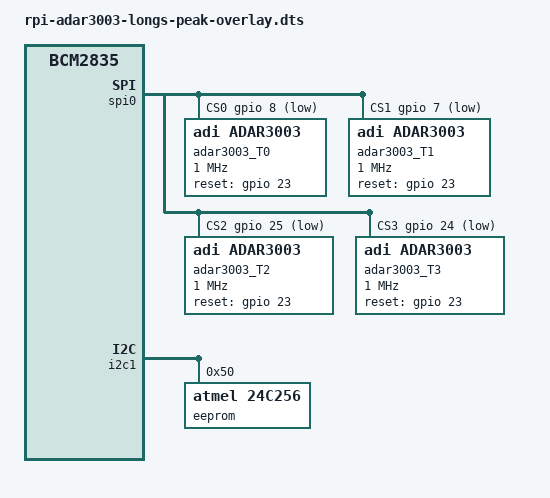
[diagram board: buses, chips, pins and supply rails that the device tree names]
// SPDX-License-Identifier: GPL-2.0
/dts-v1/;
/plugin/;

/ {
	compatible = "brcm,bcm2836", "brcm,bcm2835";

	fragment@0 {
		target = <&spidev0>;
		__overlay__ {
			status = "disabled";
		};
	};

	fragment@1 {
		target = <&spidev1>;
		__overlay__ {
			status = "disabled";
		};
	};

	fragment@2 {
		target = <&spi0_cs_pins>;
		frag0: __overlay__ {
				brcm,pins = <8 7 25 24>;
				brcm,function = <1>; //output
		};
	};

	fragment@3 {
		target = <&spi0>;
		frag1: __overlay__ {
			#address-cells = <1>;
			#size-cells = <0>;

			cs-gpios = <&gpio 8 1>, <&gpio 7 1>, <&gpio 25 1>, <&gpio 24 1>;
			status = "okay";

			adar3003_T0: adar3003_0@0 {
				compatible = "adi,adar3003";
				reg = <0>;
				spi-max-frequency = <1000000>;
				label = "adar3003_T0";
				#address-cells = <1>;
				#size-cells = <0>;
				reset-gpios = <&gpio 23 0>;

				adar3003_0@0 {
					reg = <0>;
					label = "adar3003_U1E";
				};
				adar3003_1@1 {
					reg = <1>;
					label = "adar3003_U2E";
				};
				adar3003_2@2 {
					reg = <2>;
					label = "adar3003_U3E";
				};
				adar3003_3@3 {
					reg = <3>;
					label = "adar3003_U4E";
				};

				adar3003_4@4 {
					reg = <4>;
					label = "adar3003_U1F";
				};
				adar3003_5@5 {
					reg = <5>;
					label = "adar3003_U2F";
				};
				adar3003_6@6 {
					reg = <6>;
					label = "adar3003_U3F";
				};
				adar3003_7@7 {
					reg = <7>;
					label = "adar3003_U4F";
				};

				adar3003_8@8 {
					reg = <8>;
					label = "adar3003_U1G";
				};
				adar3003_9@9 {
					reg = <9>;
					label = "adar3003_U2G";
				};
				adar3003_10@10 {
					reg = <10>;
					label = "adar3003_U3G";
				};
				adar3003_11@11 {
					reg = <11>;
					label = "adar3003_U4G";
				};

				adar3003_12@12 {
					reg = <12>;
					label = "adar3003_U1H";
				};
				adar3003_13@13 {
					reg = <13>;
					label = "adar3003_U2H";
				};
				adar3003_14@14 {
					reg = <14>;
					label = "adar3003_U3H";
				};
				adar3003_15@15 {
					reg = <15>;
					label = "adar3003_U4H";
				};
			};

			adar3003_T1: adar3003_1@1 {
				compatible = "adi,adar3003";
				reg = <1>;
				spi-max-frequency = <1000000>;
				label = "adar3003_T1";
				#address-cells = <1>;
				#size-cells = <0>;
				reset-gpios = <&gpio 23 0>;

				adar3003_0@0 {
					reg = <0>;
					label = "adar3003_U1E";
				};
				adar3003_1@1 {
					reg = <1>;
					label = "adar3003_U2E";
				};
				adar3003_2@2 {
					reg = <2>;
					label = "adar3003_U3E";
				};
				adar3003_3@3 {
					reg = <3>;
					label = "adar3003_U4E";
				};

				adar3003_4@4 {
					reg = <4>;
					label = "adar3003_U1F";
				};
				adar3003_5@5 {
					reg = <5>;
					label = "adar3003_U2F";
				};
				adar3003_6@6 {
					reg = <6>;
					label = "adar3003_U3F";
				};
				adar3003_7@7 {
					reg = <7>;
					label = "adar3003_U4F";
				};

				adar3003_8@8 {
					reg = <8>;
					label = "adar3003_U1G";
				};
				adar3003_9@9 {
					reg = <9>;
					label = "adar3003_U2G";
				};
				adar3003_10@10 {
					reg = <10>;
					label = "adar3003_U3G";
				};
				adar3003_11@11 {
					reg = <11>;
					label = "adar3003_U4G";
				};

				adar3003_12@12 {
					reg = <12>;
					label = "adar3003_U1H";
				};
				adar3003_13@13 {
					reg = <13>;
					label = "adar3003_U2H";
				};
				adar3003_14@14 {
					reg = <14>;
					label = "adar3003_U3H";
				};
				adar3003_15@15 {
					reg = <15>;
					label = "adar3003_U4H";
				};
			};

			adar3003_T2: adar3003_2@2 {
				compatible = "adi,adar3003";
				reg = <2>;
				spi-max-frequency = <1000000>;
				label = "adar3003_T2";
				#address-cells = <1>;
				#size-cells = <0>;
				reset-gpios = <&gpio 23 0>;

				adar3003_0@0 {
					reg = <0>;
					label = "adar3003_U1E";
				};
				adar3003_1@1 {
					reg = <1>;
					label = "adar3003_U2E";
				};
				adar3003_2@2 {
					reg = <2>;
					label = "adar3003_U3E";
				};
				adar3003_3@3 {
					reg = <3>;
					label = "adar3003_U4E";
				};

				adar3003_4@4 {
					reg = <4>;
					label = "adar3003_U1F";
				};
				adar3003_5@5 {
					reg = <5>;
					label = "adar3003_U2F";
				};
				adar3003_6@6 {
					reg = <6>;
					label = "adar3003_U3F";
				};
				adar3003_7@7 {
					reg = <7>;
					label = "adar3003_U4F";
				};

				adar3003_8@8 {
					reg = <8>;
					label = "adar3003_U1G";
				};
				adar3003_9@9 {
					reg = <9>;
					label = "adar3003_U2G";
				};
				adar3003_10@10 {
					reg = <10>;
					label = "adar3003_U3G";
				};
				adar3003_11@11 {
					reg = <11>;
					label = "adar3003_U4G";
				};

				adar3003_12@12 {
					reg = <12>;
					label = "adar3003_U1H";
				};
				adar3003_13@13 {
					reg = <13>;
					label = "adar3003_U2H";
				};
				adar3003_14@14 {
					reg = <14>;
					label = "adar3003_U3H";
				};
				adar3003_15@15 {
					reg = <15>;
					label = "adar3003_U4H";
				};
			};

			adar3003_T3: adar3003_3@3 {
				compatible = "adi,adar3003";
				reg = <3>;
				spi-max-frequency = <1000000>;
				label = "adar3003_T3";
				#address-cells = <1>;
				#size-cells = <0>;
				reset-gpios = <&gpio 23 0>;

				adar3003_0@0 {
					reg = <0>;
					label = "adar3003_U1E";
				};
				adar3003_1@1 {
					reg = <1>;
					label = "adar3003_U2E";
				};
				adar3003_2@2 {
					reg = <2>;
					label = "adar3003_U3E";
				};
				adar3003_3@3 {
					reg = <3>;
					label = "adar3003_U4E";
				};

				adar3003_4@4 {
					reg = <4>;
					label = "adar3003_U1F";
				};
				adar3003_5@5 {
					reg = <5>;
					label = "adar3003_U2F";
				};
				adar3003_6@6 {
					reg = <6>;
					label = "adar3003_U3F";
				};
				adar3003_7@7 {
					reg = <7>;
					label = "adar3003_U4F";
				};

				adar3003_8@8 {
					reg = <8>;
					label = "adar3003_U1G";
				};
				adar3003_9@9 {
					reg = <9>;
					label = "adar3003_U2G";
				};
				adar3003_10@10 {
					reg = <10>;
					label = "adar3003_U3G";
				};
				adar3003_11@11 {
					reg = <11>;
					label = "adar3003_U4G";
				};

				adar3003_12@12 {
					reg = <12>;
					label = "adar3003_U1H";
				};
				adar3003_13@13 {
					reg = <13>;
					label = "adar3003_U2H";
				};
				adar3003_14@14 {
					reg = <14>;
					label = "adar3003_U3H";
				};
				adar3003_15@15 {
					reg = <15>;
					label = "adar3003_U4H";
				};
			};
		};
	};

	fragment@4 {
		target = <&i2c1>;
		__overlay__ {
			#address-cells = <1>;
			#size-cells = <0>;
			status = "okay";

			eeprom@50 {
				compatible = "atmel,24c256";
				reg = <0x50>;
			};
		};
	};
};
